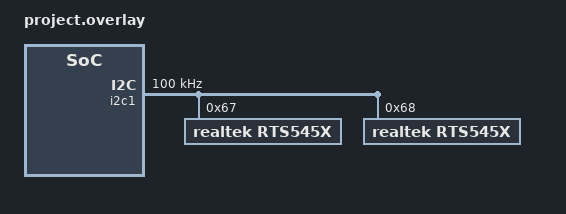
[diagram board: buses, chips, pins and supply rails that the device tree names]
/* Copyright 2023 The ChromiumOS Authors
 * Use of this source code is governed by a BSD-style license that can be
 * found in the LICENSE file.
 */

 / {
	aliases {
		gpio-wp = &ec_wp_l;
	};

	named-gpios {
		compatible = "named-gpios";

		ec_wp_l: write-protect {
			gpios = <&gpioa 0 GPIO_INPUT>;
		};
		/* unimplemented GPIOs */
		entering-rw {
			enum-name = "GPIO_ENTERING_RW";
		};
	};

	named-i2c-ports {
		compatible = "named-i2c-ports";

		smbus1 {
			i2c-port = <&i2c1>;
			enum-names = "I2C_1";
		};
	};

};

&i2c1 {
	status = "okay";
	clock-frequency = <I2C_BITRATE_STANDARD>;
	pinctrl-0 = <&i2c1_clk_gpc1_default
		     &i2c1_data_gpc2_default>;
	pinctrl-names = "default";
	label = "I2C_1";

	rts545x@67 {
		compatible = "realtek,rts545x";
		reg = <0x67>;
	};
	rts545x@68 {
		compatible = "realtek,rts545x";
		reg = <0x68>;
	};
};
